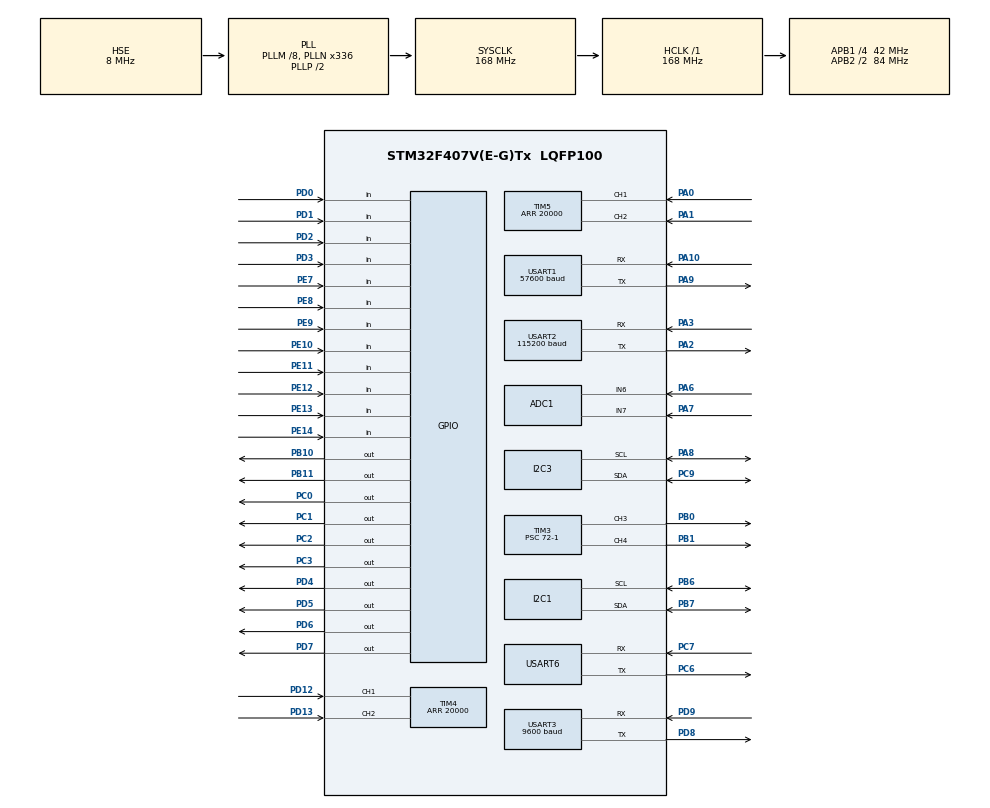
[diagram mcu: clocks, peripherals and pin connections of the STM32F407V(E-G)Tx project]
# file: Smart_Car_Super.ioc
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ADC1.Channel-3\#ChannelRegularConversion=ADC_CHANNEL_6
ADC1.NbrOfConversionFlag=1
ADC1.Rank-3\#ChannelRegularConversion=1
ADC1.SamplingTime-3\#ChannelRegularConversion=ADC_SAMPLETIME_3CYCLES
ADC1.master=1
Mcu.Family=STM32F4
Mcu.Name=STM32F407V(E-G)Tx
Mcu.Package=LQFP100
NVIC.PriorityGroup=NVIC_PRIORITYGROUP_4
NVIC.TIM2_IRQn=true\:0\:0\:false\:false\:true\:true\:true\:true
NVIC.USART1_IRQn=true\:0\:0\:false\:false\:true\:true\:true\:true
NVIC.USART2_IRQn=true\:0\:0\:false\:false\:true\:true\:true\:true
NVIC.USART3_IRQn=true\:0\:0\:false\:false\:true\:true\:true\:true
PA0-WKUP.GPIO_PuPd=GPIO_PULLUP
PA0-WKUP.Signal=S_TIM5_CH1
PA1.GPIO_PuPd=GPIO_PULLUP
PA1.Signal=S_TIM5_CH2
PA10.Mode=Asynchronous
PA10.Signal=USART1_RX
PA13.Mode=Serial_Wire
PA13.Signal=SYS_JTMS-SWDIO
PA14.Mode=Serial_Wire
PA14.Signal=SYS_JTCK-SWCLK
PA2.Mode=Asynchronous
PA2.Signal=USART2_TX
PA3.Mode=Asynchronous
PA3.Signal=USART2_RX
PA6.Signal=ADCx_IN6
PA7.Signal=ADCx_IN7
PA8.Mode=I2C
PA8.Signal=I2C3_SCL
PA9.Mode=Asynchronous
PA9.Signal=USART1_TX
PB0.Signal=S_TIM3_CH3
PB1.Signal=S_TIM3_CH4
PB10.GPIO_ModeDefaultOutputPP=GPIO_MODE_OUTPUT_PP
PB10.GPIO_PuPd=GPIO_NOPULL
PB10.Signal=GPIO_Output
PB11.GPIO_ModeDefaultOutputPP=GPIO_MODE_OUTPUT_PP
PB11.GPIO_PuPd=GPIO_NOPULL
PB11.Signal=GPIO_Output
PB6.Mode=I2C
PB6.Signal=I2C1_SCL
PB7.Mode=I2C
PB7.Signal=I2C1_SDA
PC0.Signal=GPIO_Output
PC1.Signal=GPIO_Output
PC2.Signal=GPIO_Output
PC3.Signal=GPIO_Output
PC6.Mode=Asynchronous
PC6.Signal=USART6_TX
PC7.Mode=Asynchronous
PC7.Signal=USART6_RX
PC9.Mode=I2C
PC9.Signal=I2C3_SDA
PD0.GPIO_PuPd=GPIO_PULLUP
PD0.Signal=GPIO_Input
PD1.GPIO_PuPd=GPIO_PULLUP
PD1.Signal=GPIO_Input
PD12.GPIO_PuPd=GPIO_PULLUP
PD12.Signal=S_TIM4_CH1
PD13.GPIO_PuPd=GPIO_PULLUP
PD13.Signal=S_TIM4_CH2
PD2.GPIO_PuPd=GPIO_PULLUP
PD2.Signal=GPIO_Input
PD3.GPIO_PuPd=GPIO_PULLUP
PD3.Signal=GPIO_Input
PD4.GPIO_PuPd=GPIO_PULLDOWN
PD4.Signal=GPIO_Output
PD5.GPIO_PuPd=GPIO_PULLDOWN
PD5.Signal=GPIO_Output
PD6.GPIO_PuPd=GPIO_PULLDOWN
PD6.Signal=GPIO_Output
PD7.Signal=GPIO_Output
PD8.Mode=Asynchronous
PD8.Signal=USART3_TX
PD9.Mode=Asynchronous
PD9.Signal=USART3_RX
PE10.Signal=GPIO_Input
PE11.Signal=GPIO_Input
PE12.Signal=GPIO_Input
PE13.Signal=GPIO_Input
PE14.Signal=GPIO_Input
PE7.Signal=GPIO_Input
PE8.Signal=GPIO_Input
PE9.Signal=GPIO_Input
PH0-OSC_IN.Mode=HSE-External-Oscillator
PH0-OSC_IN.Signal=RCC_OSC_IN
PH1-OSC_OUT.Mode=HSE-External-Oscillator
PH1-OSC_OUT.Signal=RCC_OSC_OUT
ProjectManager.HeapSize=0x200
ProjectManager.StackSize=0x400
ProjectManager.TargetToolchain=MDK-ARM V5.32
RCC.48MHZClocksFreq_Value=84000000
RCC.AHBFreq_Value=168000000
RCC.APB1CLKDivider=RCC_HCLK_DIV4
RCC.APB1Freq_Value=42000000
RCC.APB1TimFreq_Value=84000000
RCC.APB2CLKDivider=RCC_HCLK_DIV2
RCC.APB2Freq_Value=84000000
RCC.APB2TimFreq_Value=168000000
RCC.CortexFreq_Value=168000000
RCC.HCLKFreq_Value=168000000
RCC.HSE_VALUE=8000000
RCC.HSI_VALUE=16000000
RCC.LSE_VALUE=32768
RCC.PLLM=8
RCC.PLLN=336
RCC.PLLSourceVirtual=RCC_PLLSOURCE_HSE
RCC.SYSCLKFreq_VALUE=168000000
RCC.SYSCLKSource=RCC_SYSCLKSOURCE_PLLCLK
RCC.VCOOutputFreq_Value=336000000
SH.ADCx_IN6.0=ADC1_IN6,IN6
SH.ADCx_IN7.0=ADC1_IN7,IN7
SH.S_TIM3_CH3.0=TIM3_CH3,PWM Generation3 CH3
SH.S_TIM3_CH4.0=TIM3_CH4,PWM Generation4 CH4
SH.S_TIM4_CH1.0=TIM4_CH1,Encoder_Interface
SH.S_TIM4_CH2.0=TIM4_CH2,Encoder_Interface
SH.S_TIM5_CH1.0=TIM5_CH1,Encoder_Interface
SH.S_TIM5_CH2.0=TIM5_CH2,Encoder_Interface
TIM2.Period=65535
TIM2.Prescaler=83
TIM3.Channel-PWM\ Generation3\ CH3=TIM_CHANNEL_3
TIM3.Channel-PWM\ Generation4\ CH4=TIM_CHANNEL_4
TIM3.Period=10000-1
TIM3.Prescaler=72-1
TIM4.EncoderMode=TIM_ENCODERMODE_TI12
TIM4.Period=20000
TIM5.EncoderMode=TIM_ENCODERMODE_TI12
TIM5.Period=20000
USART1.BaudRate=57600
USART1.VirtualMode=VM_ASYNC
USART2.BaudRate=115200
USART2.VirtualMode=VM_ASYNC
USART3.BaudRate=9600
USART3.VirtualMode=VM_ASYNC
USART6.VirtualMode=VM_ASYNC
VP_TIM2_VS_ClockSourceINT.Mode=Internal
VP_TIM3_VS_ClockSourceINT.Mode=Internal
board=custom

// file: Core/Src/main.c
/* USER CODE BEGIN Header */
/**
  ******************************************************************************
  * @file           : main.c
  * @brief          : Main program body
  ******************************************************************************
  * @attention
  *
  * Copyright (c) 2024 STMicroelectronics.
  * All rights reserved.
  *
  * This software is licensed under terms that can be found in the LICENSE file
  * in the root directory of this software component.
  * If no LICENSE file comes with this software, it is provided AS-IS.
  *
  ******************************************************************************
  */
/* USER CODE END Header */
#include "main.h"
#include "adc.h"
#include "i2c.h"
#include "tim.h"
#include "usart.h"
#include "gpio.h"

/* USER CODE BEGIN Includes */
#include "L294N.h"
#include <stdio.h>
#include <String.h>
#include "OLED.h"
#include "vofa.h"
#include "matrix_keyboard.h"
#include "convert.h"
#include "pid.h"
#include "Bluetooth.h"
#include "HuiDu.h"
#include "Raspi.h"

#include "mpuiic.h"
#include "mpu6050.h"
#include "IMU_FLITER.h"

#include "Delay.h"
/* USER CODE END Includes */

void SystemClock_Config(void);

/* USER CODE BEGIN 0 */

int time=0;

int key1=3;

float a=0;
float t;
float b=10;
float set_Speed=10;
extern tPid pidMotor1Speed;
int flag1=1;
float temperature;

/* USER CODE END 0 */

int main(void)
{

  /* MCU Configuration--------------------------------------------------------*/

  /* Reset of all peripherals, Initializes the Flash interface and the Systick. */
  HAL_Init();

  /* Configure the system clock */
  SystemClock_Config();

  /* Initialize all configured peripherals */
  MX_GPIO_Init();
  MX_I2C1_Init();
  MX_TIM2_Init();
  MX_TIM3_Init();
  MX_USART1_UART_Init();
  MX_USART2_UART_Init();
  MX_USART3_UART_Init();
  MX_ADC1_Init();
  MX_I2C3_Init();
  MX_TIM4_Init();
  MX_TIM5_Init();
  MX_USART6_UART_Init();
  /* USER CODE BEGIN 2 */

  MPU_Init();

  OLED_Init();
	PID_init();

	HAL_UART_Receive_IT(&huart1,(uint8_t *)&USART1_NewData,1);
  HAL_UART_Receive_IT(&huart3,(uint8_t *)&USART3_NewData,1);

//	HAL_UART_Receive_IT(&huart2,(uint8_t *)&USART2_NewData,1);

  __HAL_TIM_CLEAR_IT(&htim2, TIM_IT_UPDATE);

  HAL_TIM_Base_Start_IT(&htim2);
	HAL_TIM_Base_Start_IT(&htim3);

  HAL_TIM_PWM_Start(&htim3,TIM_CHANNEL_1);
  HAL_TIM_PWM_Start(&htim3,TIM_CHANNEL_2);
  HAL_TIM_PWM_Start(&htim3,TIM_CHANNEL_3);
  HAL_TIM_PWM_Start(&htim3,TIM_CHANNEL_4);

   OLED_Clear();

  /* USER CODE END 2 */

  /* Infinite loop */
  while (1)
  {

    /* USER CODE BEGIN 3 */
		HAL_GPIO_WritePin(GPIOD,GPIO_PIN_4,GPIO_PIN_SET);
    HAL_GPIO_WritePin(GPIOD,GPIO_PIN_5,GPIO_PIN_SET);
    HAL_GPIO_WritePin(GPIOD,GPIO_PIN_6,GPIO_PIN_SET);

   temperature=MPU_Get_Temperature();
	//TargetTracking();
	/*OLED_Showdecimal(0,0,pinum-48,3,1,16);
	OLED_Showdecimal(0,2,pinum2-48,3,1,16);
	OLED_Showdecimal(0,4,pinum3-48,3,1,16);
		*/

	//树莓派显示数字
	OLED_Showdecimal(0,0,num,2,1,16);
	OLED_Showdecimal(0,2,num2,2,1,16);
	OLED_Showdecimal(0,4,num3,2,1,16);

	OLED_Showdecimal(72,2,temperature,4,1,16);
 // OLED_Showdecimal(72,4,USART3_RX_STA,3,1,16);

	//灰度
  OLED_ShowNum(0,6,L4,1,16);OLED_ShowNum(12,6,L3,1,16);OLED_ShowNum(24,6,L2,1,16);OLED_ShowNum(36,6,L1,1,16);
	OLED_ShowNum(48,6,R1,1,16);OLED_ShowNum(60,6,R2,1,16);OLED_ShowNum(72,6,R3,1,16);OLED_ShowNum(84,6,R4,1,16);

	//蓝牙控车
	if(num=='u'){
	Forward();
	}
	if(num=='l'){
	Left();
	}
	if(num=='r'){
	Right();
	}
	if(num=='d'){
	Back();
	}
	if(num=='0'){
	Reset();
	}

	if(L4==1){

	}

	vodka_JustFloat_send(&huart2);   //vofa
}
  /* USER CODE END 3 */
}

void SystemClock_Config(void)
{
  RCC_OscInitTypeDef RCC_OscInitStruct = {0};
  RCC_ClkInitTypeDef RCC_ClkInitStruct = {0};

  /** Configure the main internal regulator output voltage
  */
  __HAL_RCC_PWR_CLK_ENABLE();
  __HAL_PWR_VOLTAGESCALING_CONFIG(PWR_REGULATOR_VOLTAGE_SCALE1);

  /** Initializes the RCC Oscillators according to the specified parameters
  * in the RCC_OscInitTypeDef structure.
  */
  RCC_OscInitStruct.OscillatorType = RCC_OSCILLATORTYPE_HSE;
  RCC_OscInitStruct.HSEState = RCC_HSE_ON;
  RCC_OscInitStruct.PLL.PLLState = RCC_PLL_ON;
  RCC_OscInitStruct.PLL.PLLSource = RCC_PLLSOURCE_HSE;
  RCC_OscInitStruct.PLL.PLLM = 8;
  RCC_OscInitStruct.PLL.PLLN = 336;
  RCC_OscInitStruct.PLL.PLLP = RCC_PLLP_DIV2;
  RCC_OscInitStruct.PLL.PLLQ = 4;
  if (HAL_RCC_OscConfig(&RCC_OscInitStruct) != HAL_OK)
  {
    Error_Handler();
  }

  /** Initializes the CPU, AHB and APB buses clocks
  */
  RCC_ClkInitStruct.ClockType = RCC_CLOCKTYPE_HCLK|RCC_CLOCKTYPE_SYSCLK
                              |RCC_CLOCKTYPE_PCLK1|RCC_CLOCKTYPE_PCLK2;
  RCC_ClkInitStruct.SYSCLKSource = RCC_SYSCLKSOURCE_PLLCLK;
  RCC_ClkInitStruct.AHBCLKDivider = RCC_SYSCLK_DIV1;
  RCC_ClkInitStruct.APB1CLKDivider = RCC_HCLK_DIV4;
  RCC_ClkInitStruct.APB2CLKDivider = RCC_HCLK_DIV2;

  if (HAL_RCC_ClockConfig(&RCC_ClkInitStruct, FLASH_LATENCY_5) != HAL_OK)
  {
    Error_Handler();
  }
}

/* USER CODE BEGIN 4 */

void HAL_TIM_PeriodElapsedCallback(TIM_HandleTypeDef *htim)
{

    if (htim == (&htim2))
    {
        HAL_GPIO_TogglePin(GPIOC, GPIO_PIN_13);
    }
}

/* USER CODE END 4 */

void Error_Handler(void)
{
  __disable_irq();
  while (1)
  {
  }
}
